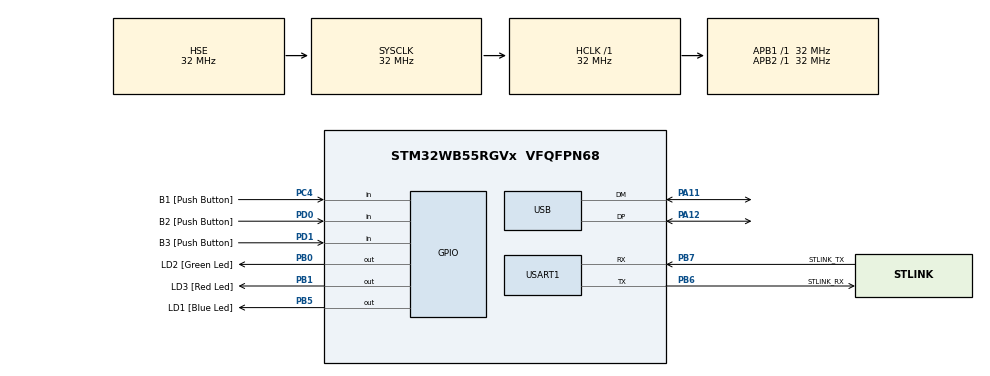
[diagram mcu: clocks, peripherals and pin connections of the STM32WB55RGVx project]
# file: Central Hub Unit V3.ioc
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Mcu.Family=STM32WB
Mcu.Name=STM32WB55RGVx
Mcu.Package=VFQFPN68
NVIC.HSEM_IRQn=true\:0\:0\:false\:false\:true\:false\:true\:true
NVIC.PriorityGroup=NVIC_PRIORITYGROUP_4
OSC_IN.Mode=HSE-External-Oscillator
OSC_IN.Signal=RCC_OSC_IN
OSC_OUT.Mode=HSE-External-Oscillator
OSC_OUT.Signal=RCC_OSC_OUT
PA11.Mode=Device
PA11.Signal=USB_DM
PA12.Mode=Device
PA12.Signal=USB_DP
PA13.GPIO_Label=JTMS
PA13.Mode=Trace_Asynchronous_SW
PA13.Signal=SYS_JTMS-SWDIO
PA14.GPIO_Label=JTCK
PA14.Mode=Trace_Asynchronous_SW
PA14.Signal=SYS_JTCK-SWCLK
PB0.GPIO_Label=LD2 [Green Led]
PB0.Signal=GPIO_Output
PB1.GPIO_Label=LD3 [Red Led]
PB1.Signal=GPIO_Output
PB3.GPIO_Label=JTDO
PB3.Mode=Trace_Asynchronous_SW
PB3.Signal=SYS_JTDO-SWO
PB5.GPIO_Label=LD1 [Blue Led]
PB5.Signal=GPIO_Output
PB6.GPIO_Label=STLINK_RX
PB6.GPIO_PuPd=GPIO_PULLUP
PB6.Mode=Asynchronous
PB6.Signal=USART1_TX
PB7.GPIO_Label=STLINK_TX
PB7.GPIO_PuPd=GPIO_PULLUP
PB7.Mode=Asynchronous
PB7.Signal=USART1_RX
PC13.Mode=SYS_WakeUp1
PC13.Signal=SYS_WKUP2
PC14-OSC32_IN.Mode=LSE-External-Oscillator
PC14-OSC32_IN.Signal=RCC_OSC32_IN
PC15-OSC32_OUT.Mode=LSE-External-Oscillator
PC15-OSC32_OUT.Signal=RCC_OSC32_OUT
PC4.GPIO_Label=B1 [Push Button]
PC4.Signal=GPIO_Input
PD0.GPIO_Label=B2 [Push Button]
PD0.Signal=GPIO_Input
PD1.GPIO_Label=B3 [Push Button]
PD1.Signal=GPIO_Input
ProjectManager.HeapSize=0x200
ProjectManager.StackSize=0x400
ProjectManager.TargetToolchain=STM32CubeIDE
RCC.ADCFreq_Value=48000000
RCC.AHBFreq_Value=32000000
RCC.APB1Freq_Value=32000000
RCC.APB1TimFreq_Value=32000000
RCC.APB2Freq_Value=32000000
RCC.APB2TimFreq_Value=32000000
RCC.APB3Freq_Value=16000000
RCC.CortexFreq_Value=32000000
RCC.HCLKFreq_Value=32000000
RCC.HSE_VALUE=32000000
RCC.HSI48_VALUE=48000000
RCC.HSI_VALUE=16000000
RCC.LSE_Drive_Capability=RCC_LSEDRIVE_LOW
RCC.PLLN=32
RCC.PLLSAI1N=24
RCC.SMPSCLockSelectionVirtual=RCC_SMPSCLKSOURCE_HSI
RCC.SMPSCLockSelectionVirtualVirtual=RCC_SMPSCLKSOURCE_HSI
RCC.SMPSDivider=1
RCC.SYSCLKFreq_VALUE=32000000
RCC.SYSCLKSource=RCC_SYSCLKSOURCE_HSE
RCC.USBFreq_Value=48000000
RCC.VCOOutputFreq_Value=128000000
RF1.Mode=RF1_Activate
RF1.Signal=RF_RF1
STM32_WPAN.ENDPOINT1_DEVICE_ID=ZCL_DEVICE_PCT
STM32_WPAN.ENDPOINT1_ID_ZGB=1
STM32_WPAN.ZCL_BASIC_ENDPOINT1=CLIENT_SERVER
STM32_WPAN.ZCL_MESSAGING_ENDPOINT1=CLIENT_SERVER
STM32_WPAN.ZGB_ENDPOINT1_PROFILE_ID=ZCL_PROFILE_SMART_ENERGY
STM32_WPAN.ZGB_NW_MODE=DISTRIBUTED
USART1.VirtualMode-Asynchronous=VM_ASYNC
USART1.WordLength=WORDLENGTH_7B
VP_HSEM_VS_HSEM.Mode=HSEM_Activate
VP_IPCC_VS_IPCC.Mode=IPCC_Activate
VP_RTC_VS_RTC_Activate.Mode=RTC_Enabled
VP_SEQUENCER_VS_SEQUENCER.Mode=SEQUENCER_Enabled
VP_STM32_WPAN_VS_ZIGBEE.Mode=MOD_ZGB_ENDPOINT
VP_TINY_LPM_VS_TINY_LPM.Mode=TINY_LPM_Enabled
board=NUCLEO-WB55RG

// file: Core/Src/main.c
/* USER CODE BEGIN Header */
/**
  ******************************************************************************
  * @file           : main.c
  * @brief          : Main program body
  ******************************************************************************
  * @attention
  *
  * Copyright (c) 2023 STMicroelectronics.
  * All rights reserved.
  *
  * This software is licensed under terms that can be found in the LICENSE file
  * in the root directory of this software component.
  * If no LICENSE file comes with this software, it is provided AS-IS.
  *
  ******************************************************************************
  */
/* USER CODE END Header */
#include "main.h"

/* USER CODE BEGIN Includes */
#include "app_zigbee.h"
/* USER CODE END Includes */

IPCC_HandleTypeDef hipcc;

RTC_HandleTypeDef hrtc;

UART_HandleTypeDef huart1;

PCD_HandleTypeDef hpcd_USB_FS;

void SystemClock_Config(void);
void PeriphCommonClock_Config(void);
static void MX_GPIO_Init(void);
static void MX_IPCC_Init(void);
static void MX_RF_Init(void);
static void MX_RTC_Init(void);
static void MX_USART1_UART_Init(void);
static void MX_USB_PCD_Init(void);

int main(void)
{
  /* USER CODE BEGIN 1 */
	__enable_irq();
  /* USER CODE END 1 */

  /* MCU Configuration--------------------------------------------------------*/

  /* Reset of all peripherals, Initializes the Flash interface and the Systick. */
  HAL_Init();
  /* Config code for STM32_WPAN (HSE Tuning must be done before system clock configuration) */
  MX_APPE_Config();

  /* Configure the system clock */
  SystemClock_Config();

/* Configure the peripherals common clocks */
  PeriphCommonClock_Config();

  /* IPCC initialisation */
  MX_IPCC_Init();

  /* Initialize all configured peripherals */
  MX_GPIO_Init();
  MX_RF_Init();
  MX_RTC_Init();
  MX_USART1_UART_Init();
  MX_USB_PCD_Init();
  /* USER CODE BEGIN 2 */

  //MOTOR STUFF.
  RCC->AHB2ENR |= RCC_AHB2ENR_GPIOAEN;
  GPIOA->MODER &= ~0xcff;
  GPIOA->MODER |= 0x455;
  //Run motor in reverse.
  GPIOA->BSRR |= 0x20;
  GPIOA->BSRR |= 0x2;
  for(int i = 0; i < 200; i++)  {
	  HAL_Delay(1);
	  GPIOA->BSRR |= 0xd0000;
	  HAL_Delay(1);
	  GPIOA->BSRR |= 0x1;
  }
  //Run motor forwards.
  GPIOA->BSRR |= 0x20000;
  for(int i = 0; i < 200; i++) {
	  HAL_Delay(1);
	  GPIOA->BSRR |= 0xd0000;
	  HAL_Delay(1);
	  GPIOA->BSRR |= 0x1;
  }
  GPIOA->BSRR |= 200000;

  //Stuff for TIM16.
  RCC->APB2ENR |= RCC_APB2ENR_TIM16EN;
  TIM16->PSC = 48000-1;
  TIM16->ARR = 10000-1;
  TIM16->DIER = TIM_DIER_UIE;
  TIM16->EGR |= TIM_EGR_UG;
  TIM16->CR1 |= TIM_CR1_CEN;
  SYSCFG->IMR1 &= ~SYSCFG_IMR1_TIM16IM;
  NVIC_EnableIRQ(TIM1_UP_TIM16_IRQn);

  //Enables SysTick for delay function.
  SysTick->LOAD = (uint32_t)(72000UL - 1UL); /* set reload register */
  SysTick->VAL = 0UL; /* load counter value */
  SysTick->CTRL = SysTick_CTRL_CLKSOURCE_Msk | SysTick_CTRL_ENABLE_Msk; /* start SysTick timer */

  /* USER CODE END 2 */

  /* Init code for STM32_WPAN */
  MX_APPE_Init();

  /* Infinite loop */
  while (1)
  {
    //MX_APPE_Process();

  }
}

void SystemClock_Config(void)
{
  RCC_OscInitTypeDef RCC_OscInitStruct = {0};
  RCC_ClkInitTypeDef RCC_ClkInitStruct = {0};

  /** Macro to configure the PLL multiplication factor
  */
  __HAL_RCC_PLL_PLLM_CONFIG(RCC_PLLM_DIV1);

  /** Macro to configure the PLL clock source
  */
  __HAL_RCC_PLL_PLLSOURCE_CONFIG(RCC_PLLSOURCE_MSI);

  /** Configure LSE Drive Capability
  */
  HAL_PWR_EnableBkUpAccess();
  __HAL_RCC_LSEDRIVE_CONFIG(RCC_LSEDRIVE_LOW);

  /** Configure the main internal regulator output voltage
  */
  __HAL_PWR_VOLTAGESCALING_CONFIG(PWR_REGULATOR_VOLTAGE_SCALE1);

  /** Initializes the RCC Oscillators according to the specified parameters
  * in the RCC_OscInitTypeDef structure.
  */
  RCC_OscInitStruct.OscillatorType = RCC_OSCILLATORTYPE_HSI|RCC_OSCILLATORTYPE_LSI1
                              |RCC_OSCILLATORTYPE_HSE|RCC_OSCILLATORTYPE_LSE
                              |RCC_OSCILLATORTYPE_MSI;
  RCC_OscInitStruct.HSEState = RCC_HSE_ON;
  RCC_OscInitStruct.LSEState = RCC_LSE_ON;
  RCC_OscInitStruct.HSIState = RCC_HSI_ON;
  RCC_OscInitStruct.MSIState = RCC_MSI_ON;
  RCC_OscInitStruct.HSICalibrationValue = RCC_HSICALIBRATION_DEFAULT;
  RCC_OscInitStruct.MSICalibrationValue = RCC_MSICALIBRATION_DEFAULT;
  RCC_OscInitStruct.MSIClockRange = RCC_MSIRANGE_6;
  RCC_OscInitStruct.LSIState = RCC_LSI_ON;
  RCC_OscInitStruct.PLL.PLLState = RCC_PLL_NONE;
  if (HAL_RCC_OscConfig(&RCC_OscInitStruct) != HAL_OK)
  {
    Error_Handler();
  }

  /** Configure the SYSCLKSource, HCLK, PCLK1 and PCLK2 clocks dividers
  */
  RCC_ClkInitStruct.ClockType = RCC_CLOCKTYPE_HCLK4|RCC_CLOCKTYPE_HCLK2
                              |RCC_CLOCKTYPE_HCLK|RCC_CLOCKTYPE_SYSCLK
                              |RCC_CLOCKTYPE_PCLK1|RCC_CLOCKTYPE_PCLK2;
  RCC_ClkInitStruct.SYSCLKSource = RCC_SYSCLKSOURCE_HSE;
  RCC_ClkInitStruct.AHBCLKDivider = RCC_SYSCLK_DIV1;
  RCC_ClkInitStruct.APB1CLKDivider = RCC_HCLK_DIV1;
  RCC_ClkInitStruct.APB2CLKDivider = RCC_HCLK_DIV1;
  RCC_ClkInitStruct.AHBCLK2Divider = RCC_SYSCLK_DIV1;
  RCC_ClkInitStruct.AHBCLK4Divider = RCC_SYSCLK_DIV1;

  if (HAL_RCC_ClockConfig(&RCC_ClkInitStruct, FLASH_LATENCY_1) != HAL_OK)
  {
    Error_Handler();
  }

  /** Enable MSI Auto calibration
  */
  HAL_RCCEx_EnableMSIPLLMode();
}

void PeriphCommonClock_Config(void)
{
  RCC_PeriphCLKInitTypeDef PeriphClkInitStruct = {0};

  /** Initializes the peripherals clock
  */
  PeriphClkInitStruct.PeriphClockSelection = RCC_PERIPHCLK_SMPS|RCC_PERIPHCLK_RFWAKEUP;
  PeriphClkInitStruct.RFWakeUpClockSelection = RCC_RFWKPCLKSOURCE_HSE_DIV1024;
  PeriphClkInitStruct.SmpsClockSelection = RCC_SMPSCLKSOURCE_HSI;
  PeriphClkInitStruct.SmpsDivSelection = RCC_SMPSCLKDIV_RANGE0;

  if (HAL_RCCEx_PeriphCLKConfig(&PeriphClkInitStruct) != HAL_OK)
  {
    Error_Handler();
  }
}

static void MX_IPCC_Init(void)
{

  hipcc.Instance = IPCC;
  if (HAL_IPCC_Init(&hipcc) != HAL_OK)
  {
    Error_Handler();
  }

}

static void MX_RF_Init(void)
{

}

static void MX_RTC_Init(void)
{

  /** Initialize RTC Only
  */
  hrtc.Instance = RTC;
  hrtc.Init.HourFormat = RTC_HOURFORMAT_24;
  hrtc.Init.AsynchPrediv = CFG_RTC_ASYNCH_PRESCALER;
  hrtc.Init.SynchPrediv = CFG_RTC_SYNCH_PRESCALER;
  hrtc.Init.OutPut = RTC_OUTPUT_DISABLE;
  hrtc.Init.OutPutPolarity = RTC_OUTPUT_POLARITY_HIGH;
  hrtc.Init.OutPutType = RTC_OUTPUT_TYPE_OPENDRAIN;
  hrtc.Init.OutPutRemap = RTC_OUTPUT_REMAP_NONE;
  if (HAL_RTC_Init(&hrtc) != HAL_OK)
  {
    Error_Handler();
  }

}

static void MX_USART1_UART_Init(void)
{

  huart1.Instance = USART1;
  huart1.Init.BaudRate = 115200;
  huart1.Init.WordLength = UART_WORDLENGTH_7B;
  huart1.Init.StopBits = UART_STOPBITS_1;
  huart1.Init.Parity = UART_PARITY_NONE;
  huart1.Init.Mode = UART_MODE_TX_RX;
  huart1.Init.HwFlowCtl = UART_HWCONTROL_NONE;
  huart1.Init.OverSampling = UART_OVERSAMPLING_16;
  huart1.Init.OneBitSampling = UART_ONE_BIT_SAMPLE_DISABLE;
  huart1.Init.ClockPrescaler = UART_PRESCALER_DIV1;
  huart1.AdvancedInit.AdvFeatureInit = UART_ADVFEATURE_NO_INIT;
  if (HAL_UART_Init(&huart1) != HAL_OK)
  {
    Error_Handler();
  }
  if (HAL_UARTEx_SetTxFifoThreshold(&huart1, UART_TXFIFO_THRESHOLD_1_8) != HAL_OK)
  {
    Error_Handler();
  }
  if (HAL_UARTEx_SetRxFifoThreshold(&huart1, UART_RXFIFO_THRESHOLD_1_8) != HAL_OK)
  {
    Error_Handler();
  }
  if (HAL_UARTEx_DisableFifoMode(&huart1) != HAL_OK)
  {
    Error_Handler();
  }

}

static void MX_USB_PCD_Init(void)
{

  hpcd_USB_FS.Instance = USB;
  hpcd_USB_FS.Init.dev_endpoints = 8;
  hpcd_USB_FS.Init.speed = PCD_SPEED_FULL;
  hpcd_USB_FS.Init.phy_itface = PCD_PHY_EMBEDDED;
  hpcd_USB_FS.Init.Sof_enable = DISABLE;
  hpcd_USB_FS.Init.low_power_enable = DISABLE;
  hpcd_USB_FS.Init.lpm_enable = DISABLE;
  hpcd_USB_FS.Init.battery_charging_enable = DISABLE;
  if (HAL_PCD_Init(&hpcd_USB_FS) != HAL_OK)
  {
    Error_Handler();
  }

}

static void MX_GPIO_Init(void)
{
  GPIO_InitTypeDef GPIO_InitStruct = {0};

  /* GPIO Ports Clock Enable */
  __HAL_RCC_GPIOC_CLK_ENABLE();
  __HAL_RCC_GPIOB_CLK_ENABLE();
  __HAL_RCC_GPIOA_CLK_ENABLE();
  __HAL_RCC_GPIOD_CLK_ENABLE();

  /*Configure GPIO pin Output Level */
  HAL_GPIO_WritePin(GPIOB, LD2_Pin|LD3_Pin|LD1_Pin, GPIO_PIN_RESET);

  /*Configure GPIO pin : B1_Pin */
  GPIO_InitStruct.Pin = B1_Pin;
  GPIO_InitStruct.Mode = GPIO_MODE_INPUT;
  GPIO_InitStruct.Pull = GPIO_NOPULL;
  HAL_GPIO_Init(B1_GPIO_Port, &GPIO_InitStruct);

  /*Configure GPIO pins : LD2_Pin LD3_Pin LD1_Pin */
  GPIO_InitStruct.Pin = LD2_Pin|LD3_Pin|LD1_Pin;
  GPIO_InitStruct.Mode = GPIO_MODE_OUTPUT_PP;
  GPIO_InitStruct.Pull = GPIO_NOPULL;
  GPIO_InitStruct.Speed = GPIO_SPEED_FREQ_LOW;
  HAL_GPIO_Init(GPIOB, &GPIO_InitStruct);

  /*Configure GPIO pins : B2_Pin B3_Pin */
  GPIO_InitStruct.Pin = B2_Pin|B3_Pin;
  GPIO_InitStruct.Mode = GPIO_MODE_INPUT;
  GPIO_InitStruct.Pull = GPIO_NOPULL;
  HAL_GPIO_Init(GPIOD, &GPIO_InitStruct);

}

void Error_Handler(void)
{
  __disable_irq();
  while (1)
  {
  }
}
